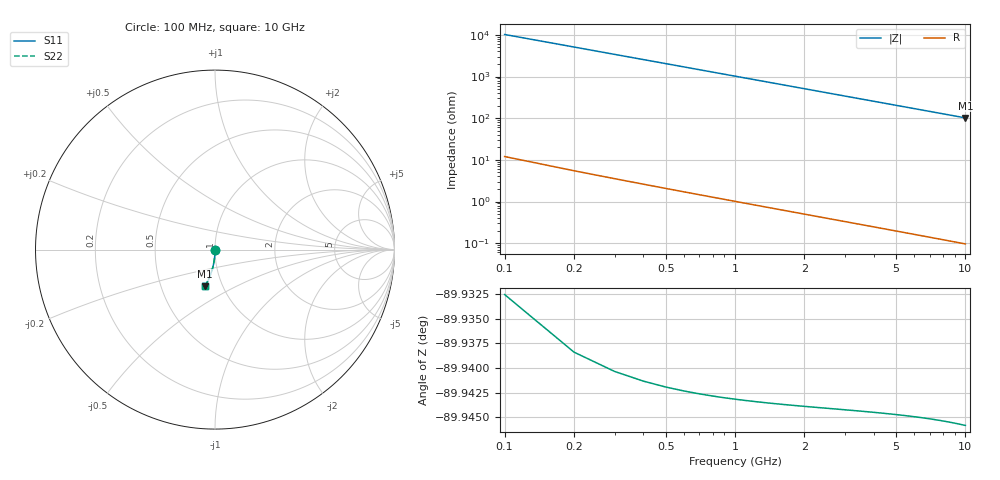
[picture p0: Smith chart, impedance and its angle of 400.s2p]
# Hz S RI R 50.00
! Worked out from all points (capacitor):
!   100 points, 100 MHz to 10 GHz, reference 50 ohm
!   read as one part in shunt: C = 156 fF near 100 MHz
!   lowest |Z| = 102 ohm at 10 GHz (marker M1)
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1e8  0.000135 -0.00217  0.9998 -0.00272  0.9998 -0.00272  0.000135 -0.00217
2e8  0.000116 -0.00435  0.9998 -0.00544  0.9998 -0.00544  0.000116 -0.00435
3e8  8.51e-05 -0.00652  0.9998 -0.00816  0.9998 -0.00816  8.51e-05 -0.00652
4e8  4.19e-05 -0.0087  0.9997 -0.0109  0.9997 -0.0109  4.19e-05 -0.0087
5e8  -1.31e-05 -0.0109  0.9997 -0.0136  0.9997 -0.0136  -1.31e-05 -0.0109
6e8  -8.01e-05 -0.013  0.9996 -0.0163  0.9996 -0.0163  -8.01e-05 -0.013
7e8  -0.000159 -0.0152  0.9995 -0.019  0.9995 -0.019  -0.000159 -0.0152
8e8  -0.00025 -0.0174  0.9994 -0.0217  0.9994 -0.0217  -0.00025 -0.0174
9e8  -0.000352 -0.0196  0.9993 -0.0245  0.9993 -0.0245  -0.000352 -0.0196
1.1e9  -0.000592 -0.0239  0.9991 -0.0299  0.9991 -0.0299  -0.000592 -0.0239
1.4e9  -0.00104 -0.0304  0.9986 -0.038  0.9986 -0.038  -0.00104 -0.0304
1.8e9  -0.00181 -0.0391  0.9978 -0.0489  0.9978 -0.0489  -0.00181 -0.0391
2.1e9  -0.0025 -0.0456  0.9971 -0.057  0.9971 -0.057  -0.0025 -0.0456
2.5e9  -0.0036 -0.0542  0.996 -0.0678  0.996 -0.0678  -0.0036 -0.0542
2.9e9  -0.00488 -0.0628  0.9947 -0.0786  0.9947 -0.0786  -0.00488 -0.0628
3.4e9  -0.00674 -0.0735  0.9928 -0.092  0.9928 -0.092  -0.00674 -0.0735
4.2e9  -0.0103 -0.0905  0.9891 -0.1134  0.9891 -0.1134  -0.0103 -0.0905
5.1e9  -0.0152 -0.1093  0.9841 -0.1372  0.9841 -0.1372  -0.0152 -0.1093
5.9e9  -0.0203 -0.1258  0.9789 -0.1581  0.9789 -0.1581  -0.0203 -0.1258
6.7e9  -0.0261 -0.142  0.9729 -0.1787  0.9729 -0.1787  -0.0261 -0.142
8.4e9  -0.0406 -0.1754  0.958 -0.2214  0.958 -0.2214  -0.0406 -0.1754
1e10  -0.0568 -0.2052  0.9414 -0.2601  0.9414 -0.2601  -0.0568 -0.2052
